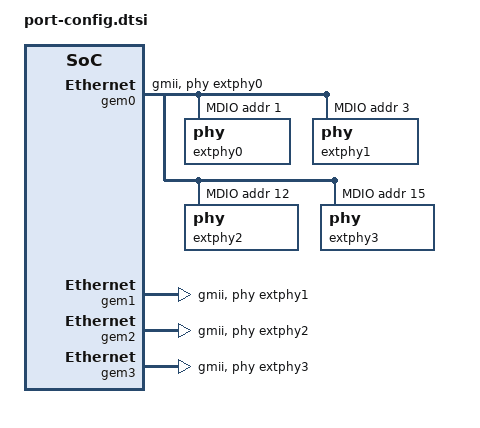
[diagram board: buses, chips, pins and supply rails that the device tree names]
/*
 * Opsero Electronic Design Inc.
 *
 * Port config for designs using all 4 ports of the Ethernet FMC Max,
 * each driven by a PS GEM through EMIO GMII and a PL PCS/PMA (SGMII).
 *
 * All four DP83867 PHYs of the Ethernet FMC Max share a single MDIO bus
 * which is mastered by GEM0 in these designs. The PHYs of ports 1-3 are
 * cross-referenced by gem1-3 via phy-handle.
 *
 * The PL PCS/PMA cores are NOT described here: this kernel's macb driver
 * has no external-PCS support. They sit on GEM0's MDIO bus at address
 * 8+port and power up ISOLATED (control reg 0, bit 10), which cuts the GMII
 * datapath until cleared. The pcs-unisolate boot service clears that bit so
 * traffic flows. Once the kernel gains an "xlnx,pcs" PCS driver, describe the
 * cores here (pcs-handle) and drop that service. See docs/source/advanced.md.
 */

&gem0 {
    local-mac-address = [00 0a 35 00 01 22];
    phy-handle = <&extphy0>;
    phy-mode = "gmii";
    status = "okay";
    xlnx,has-mdio = <0x1>;
    psu_ethernet_0_mdio: mdio {
        #address-cells = <1>;
        #size-cells = <0>;
        extphy0: phy@1 {
            device_type = "ethernet-phy";
            reg = <1>;
            ti,fifo-depth = <0x1>;
            enet-phy-lane-swap;
        };
        extphy1: phy@3 {
            device_type = "ethernet-phy";
            reg = <3>;
            ti,fifo-depth = <0x1>;
            enet-phy-lane-swap;
        };
        extphy2: phy@12 {
            device_type = "ethernet-phy";
            reg = <12>;
            ti,fifo-depth = <0x1>;
            enet-phy-lane-swap;
        };
        extphy3: phy@15 {
            device_type = "ethernet-phy";
            reg = <15>;
            ti,fifo-depth = <0x1>;
            enet-phy-lane-swap;
        };
    };
};

&gem1 {
    local-mac-address = [00 0a 35 00 01 23];
    phy-handle = <&extphy1>;
    phy-mode = "gmii";
    status = "okay";
};

&gem2 {
    local-mac-address = [00 0a 35 00 01 24];
    phy-handle = <&extphy2>;
    phy-mode = "gmii";
    status = "okay";
};

&gem3 {
    local-mac-address = [00 0a 35 00 01 25];
    phy-handle = <&extphy3>;
    phy-mode = "gmii";
    status = "okay";
};
